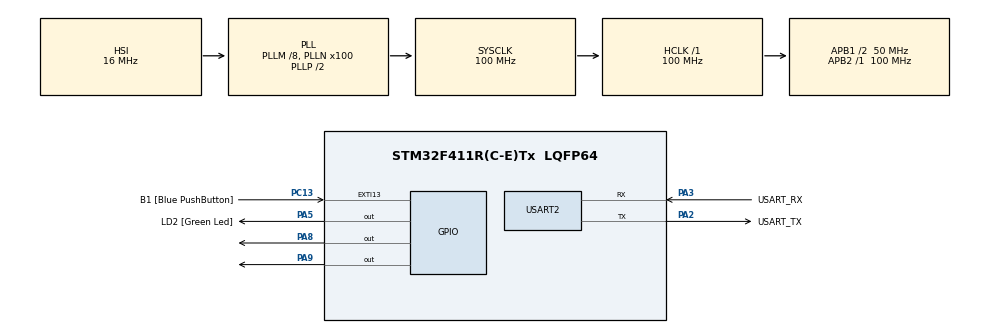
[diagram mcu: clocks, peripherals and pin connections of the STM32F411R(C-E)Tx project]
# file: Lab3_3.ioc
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Mcu.Family=STM32F4
Mcu.Name=STM32F411R(C-E)Tx
Mcu.Package=LQFP64
NVIC.PriorityGroup=NVIC_PRIORITYGROUP_0
NVIC.TIM2_IRQn=true\:0\:0\:false\:false\:true\:true\:true\:true
NVIC.TIM3_IRQn=true\:0\:0\:false\:false\:true\:true\:true\:true
NVIC.TIM4_IRQn=true\:0\:0\:false\:false\:true\:true\:true\:true
PA13.GPIO_Label=TMS
PA13.Mode=Serial_Wire
PA13.Signal=SYS_JTMS-SWDIO
PA14.GPIO_Label=TCK
PA14.Mode=Serial_Wire
PA14.Signal=SYS_JTCK-SWCLK
PA2.GPIO_Label=USART_TX
PA2.Mode=Asynchronous
PA2.Signal=USART2_TX
PA3.GPIO_Label=USART_RX
PA3.Mode=Asynchronous
PA3.Signal=USART2_RX
PA5.GPIO_Label=LD2 [Green Led]
PA5.Signal=GPIO_Output
PA8.Signal=GPIO_Output
PA9.Signal=GPIO_Output
PB3.GPIO_Label=SWO
PB3.Signal=SYS_JTDO-SWO
PC13-ANTI_TAMP.GPIO_Label=B1 [Blue PushButton]
PC13-ANTI_TAMP.GPIO_ModeDefaultEXTI=GPIO_MODE_IT_FALLING
PC13-ANTI_TAMP.Signal=GPXTI13
PC14-OSC32_IN.Mode=LSE-External-Oscillator
PC14-OSC32_IN.Signal=RCC_OSC32_IN
PC15-OSC32_OUT.Mode=LSE-External-Oscillator
PC15-OSC32_OUT.Signal=RCC_OSC32_OUT
PH0\ -\ OSC_IN.Mode=HSE-External-Clock-Source
PH0\ -\ OSC_IN.Signal=RCC_OSC_IN
PH1\ -\ OSC_OUT.Mode=HSE-External-Clock-Source
PH1\ -\ OSC_OUT.Signal=RCC_OSC_OUT
ProjectManager.HeapSize=0x200
ProjectManager.StackSize=0x400
ProjectManager.TargetToolchain=STM32CubeIDE
RCC.48MHZClocksFreq_Value=50000000
RCC.AHBFreq_Value=100000000
RCC.APB1CLKDivider=RCC_HCLK_DIV2
RCC.APB1Freq_Value=50000000
RCC.APB1TimFreq_Value=100000000
RCC.APB2Freq_Value=100000000
RCC.APB2TimFreq_Value=100000000
RCC.CortexFreq_Value=100000000
RCC.FLatency-AdvancedSettings=FLASH_LATENCY_3
RCC.HCLKFreq_Value=100000000
RCC.HSE_VALUE=8000000
RCC.HSI_VALUE=16000000
RCC.PLLM=8
RCC.PLLN=100
RCC.SYSCLKFreq_VALUE=100000000
RCC.SYSCLKSource=RCC_SYSCLKSOURCE_PLLCLK
RCC.VCOOutputFreq_Value=200000000
TIM2.Period=4999
TIM2.Prescaler=9999
TIM3.Period=4904
TIM3.Prescaler=9999
TIM4.Period=9998
TIM4.Prescaler=9999
USART2.VirtualMode=VM_ASYNC
VP_TIM2_VS_ClockSourceINT.Mode=Internal
VP_TIM3_VS_ClockSourceINT.Mode=Internal
VP_TIM4_VS_ClockSourceINT.Mode=Internal
board=NUCLEO-F411RE

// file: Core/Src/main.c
/* USER CODE BEGIN Header */
/**
  ******************************************************************************
  * @file           : main.c
  * @brief          : Main program body
  ******************************************************************************
  * @attention
  *
  * Copyright (c) 2026 STMicroelectronics.
  * All rights reserved.
  *
  * This software is licensed under terms that can be found in the LICENSE file
  * in the root directory of this software component.
  * If no LICENSE file comes with this software, it is provided AS-IS.
  *
  ******************************************************************************
  */
/* USER CODE END Header */
#include "main.h"

TIM_HandleTypeDef htim2;
TIM_HandleTypeDef htim3;
TIM_HandleTypeDef htim4;

UART_HandleTypeDef huart2;

/* USER CODE BEGIN PV */
volatile uint32_t led1_count = 0;
volatile uint32_t led2_count = 0;
volatile uint8_t report_flag = 0;
/* USER CODE END PV */

void SystemClock_Config(void);
static void MX_GPIO_Init(void);
static void MX_USART2_UART_Init(void);
static void MX_TIM2_Init(void);
static void MX_TIM3_Init(void);
static void MX_TIM4_Init(void);

int main(void)
{

  /* MCU Configuration--------------------------------------------------------*/

  /* Reset of all peripherals, Initializes the Flash interface and the Systick. */
  HAL_Init();

  /* Configure the system clock */
  SystemClock_Config();

  /* Initialize all configured peripherals */
  MX_GPIO_Init();
  MX_USART2_UART_Init();
  MX_TIM2_Init();
  MX_TIM3_Init();
  MX_TIM4_Init();
  /* USER CODE BEGIN 2 */
  HAL_TIM_Base_Start_IT(&htim2);
  HAL_TIM_Base_Start_IT(&htim3);
  HAL_TIM_Base_Start_IT(&htim4);
  /* USER CODE END 2 */

  /* Infinite loop */
  /* USER CODE BEGIN WHILE */
  while (1)
  {
    if (report_flag) {
      char tx_buffer[18];
      int len = sprintf(tx_buffer, "LED1=%lu, LED2=%lu\r\n", led1_count, led2_count);
      HAL_UART_Transmit(&huart2, (uint8_t*)tx_buffer, len, 100);

      report_flag = 0;
    }
    /* USER CODE END WHILE */

  }
}

void SystemClock_Config(void)
{
  RCC_OscInitTypeDef RCC_OscInitStruct = {0};
  RCC_ClkInitTypeDef RCC_ClkInitStruct = {0};

  /** Configure the main internal regulator output voltage
  */
  __HAL_RCC_PWR_CLK_ENABLE();
  __HAL_PWR_VOLTAGESCALING_CONFIG(PWR_REGULATOR_VOLTAGE_SCALE1);

  /** Initializes the RCC Oscillators according to the specified parameters
  * in the RCC_OscInitTypeDef structure.
  */
  RCC_OscInitStruct.OscillatorType = RCC_OSCILLATORTYPE_HSI;
  RCC_OscInitStruct.HSIState = RCC_HSI_ON;
  RCC_OscInitStruct.HSICalibrationValue = RCC_HSICALIBRATION_DEFAULT;
  RCC_OscInitStruct.PLL.PLLState = RCC_PLL_ON;
  RCC_OscInitStruct.PLL.PLLSource = RCC_PLLSOURCE_HSI;
  RCC_OscInitStruct.PLL.PLLM = 8;
  RCC_OscInitStruct.PLL.PLLN = 100;
  RCC_OscInitStruct.PLL.PLLP = RCC_PLLP_DIV2;
  RCC_OscInitStruct.PLL.PLLQ = 4;
  if (HAL_RCC_OscConfig(&RCC_OscInitStruct) != HAL_OK)
  {
    Error_Handler();
  }

  /** Initializes the CPU, AHB and APB buses clocks
  */
  RCC_ClkInitStruct.ClockType = RCC_CLOCKTYPE_HCLK|RCC_CLOCKTYPE_SYSCLK
                              |RCC_CLOCKTYPE_PCLK1|RCC_CLOCKTYPE_PCLK2;
  RCC_ClkInitStruct.SYSCLKSource = RCC_SYSCLKSOURCE_PLLCLK;
  RCC_ClkInitStruct.AHBCLKDivider = RCC_SYSCLK_DIV1;
  RCC_ClkInitStruct.APB1CLKDivider = RCC_HCLK_DIV2;
  RCC_ClkInitStruct.APB2CLKDivider = RCC_HCLK_DIV1;

  if (HAL_RCC_ClockConfig(&RCC_ClkInitStruct, FLASH_LATENCY_3) != HAL_OK)
  {
    Error_Handler();
  }
}

static void MX_TIM2_Init(void)
{

  TIM_ClockConfigTypeDef sClockSourceConfig = {0};
  TIM_MasterConfigTypeDef sMasterConfig = {0};

  htim2.Instance = TIM2;
  htim2.Init.Prescaler = 9999;
  htim2.Init.CounterMode = TIM_COUNTERMODE_UP;
  htim2.Init.Period = 4999;
  htim2.Init.ClockDivision = TIM_CLOCKDIVISION_DIV1;
  htim2.Init.AutoReloadPreload = TIM_AUTORELOAD_PRELOAD_DISABLE;
  if (HAL_TIM_Base_Init(&htim2) != HAL_OK)
  {
    Error_Handler();
  }
  sClockSourceConfig.ClockSource = TIM_CLOCKSOURCE_INTERNAL;
  if (HAL_TIM_ConfigClockSource(&htim2, &sClockSourceConfig) != HAL_OK)
  {
    Error_Handler();
  }
  sMasterConfig.MasterOutputTrigger = TIM_TRGO_RESET;
  sMasterConfig.MasterSlaveMode = TIM_MASTERSLAVEMODE_DISABLE;
  if (HAL_TIMEx_MasterConfigSynchronization(&htim2, &sMasterConfig) != HAL_OK)
  {
    Error_Handler();
  }

}

static void MX_TIM3_Init(void)
{

  TIM_ClockConfigTypeDef sClockSourceConfig = {0};
  TIM_MasterConfigTypeDef sMasterConfig = {0};

  htim3.Instance = TIM3;
  htim3.Init.Prescaler = 9999;
  htim3.Init.CounterMode = TIM_COUNTERMODE_UP;
  htim3.Init.Period = 4904;
  htim3.Init.ClockDivision = TIM_CLOCKDIVISION_DIV1;
  htim3.Init.AutoReloadPreload = TIM_AUTORELOAD_PRELOAD_DISABLE;
  if (HAL_TIM_Base_Init(&htim3) != HAL_OK)
  {
    Error_Handler();
  }
  sClockSourceConfig.ClockSource = TIM_CLOCKSOURCE_INTERNAL;
  if (HAL_TIM_ConfigClockSource(&htim3, &sClockSourceConfig) != HAL_OK)
  {
    Error_Handler();
  }
  sMasterConfig.MasterOutputTrigger = TIM_TRGO_RESET;
  sMasterConfig.MasterSlaveMode = TIM_MASTERSLAVEMODE_DISABLE;
  if (HAL_TIMEx_MasterConfigSynchronization(&htim3, &sMasterConfig) != HAL_OK)
  {
    Error_Handler();
  }

}

static void MX_TIM4_Init(void)
{

  TIM_ClockConfigTypeDef sClockSourceConfig = {0};
  TIM_MasterConfigTypeDef sMasterConfig = {0};

  htim4.Instance = TIM4;
  htim4.Init.Prescaler = 9999;
  htim4.Init.CounterMode = TIM_COUNTERMODE_UP;
  htim4.Init.Period = 9998;
  htim4.Init.ClockDivision = TIM_CLOCKDIVISION_DIV1;
  htim4.Init.AutoReloadPreload = TIM_AUTORELOAD_PRELOAD_DISABLE;
  if (HAL_TIM_Base_Init(&htim4) != HAL_OK)
  {
    Error_Handler();
  }
  sClockSourceConfig.ClockSource = TIM_CLOCKSOURCE_INTERNAL;
  if (HAL_TIM_ConfigClockSource(&htim4, &sClockSourceConfig) != HAL_OK)
  {
    Error_Handler();
  }
  sMasterConfig.MasterOutputTrigger = TIM_TRGO_RESET;
  sMasterConfig.MasterSlaveMode = TIM_MASTERSLAVEMODE_DISABLE;
  if (HAL_TIMEx_MasterConfigSynchronization(&htim4, &sMasterConfig) != HAL_OK)
  {
    Error_Handler();
  }

}

static void MX_USART2_UART_Init(void)
{

  huart2.Instance = USART2;
  huart2.Init.BaudRate = 115200;
  huart2.Init.WordLength = UART_WORDLENGTH_8B;
  huart2.Init.StopBits = UART_STOPBITS_1;
  huart2.Init.Parity = UART_PARITY_NONE;
  huart2.Init.Mode = UART_MODE_TX_RX;
  huart2.Init.HwFlowCtl = UART_HWCONTROL_NONE;
  huart2.Init.OverSampling = UART_OVERSAMPLING_16;
  if (HAL_UART_Init(&huart2) != HAL_OK)
  {
    Error_Handler();
  }

}

static void MX_GPIO_Init(void)
{
  GPIO_InitTypeDef GPIO_InitStruct = {0};

  /* GPIO Ports Clock Enable */
  __HAL_RCC_GPIOC_CLK_ENABLE();
  __HAL_RCC_GPIOH_CLK_ENABLE();
  __HAL_RCC_GPIOA_CLK_ENABLE();
  __HAL_RCC_GPIOB_CLK_ENABLE();

  /*Configure GPIO pin Output Level */
  HAL_GPIO_WritePin(GPIOA, LD2_Pin|GPIO_PIN_8|GPIO_PIN_9, GPIO_PIN_RESET);

  /*Configure GPIO pin : B1_Pin */
  GPIO_InitStruct.Pin = B1_Pin;
  GPIO_InitStruct.Mode = GPIO_MODE_IT_FALLING;
  GPIO_InitStruct.Pull = GPIO_NOPULL;
  HAL_GPIO_Init(B1_GPIO_Port, &GPIO_InitStruct);

  /*Configure GPIO pins : LD2_Pin PA8 PA9 */
  GPIO_InitStruct.Pin = LD2_Pin|GPIO_PIN_8|GPIO_PIN_9;
  GPIO_InitStruct.Mode = GPIO_MODE_OUTPUT_PP;
  GPIO_InitStruct.Pull = GPIO_NOPULL;
  GPIO_InitStruct.Speed = GPIO_SPEED_FREQ_LOW;
  HAL_GPIO_Init(GPIOA, &GPIO_InitStruct);

}

/* USER CODE BEGIN 4 */
void HAL_TIM_PeriodElapsedCallback(TIM_HandleTypeDef *htim) {
  if (htim->Instance == TIM2) {
    HAL_GPIO_TogglePin(GPIOA, GPIO_PIN_9);
    led1_count++;
  }
  else if (htim->Instance == TIM3) {
    HAL_GPIO_TogglePin(GPIOA, GPIO_PIN_8);
    led2_count++;
  }
  else if (htim->Instance == TIM4) {
    report_flag = 1;
  }
}
/* USER CODE END 4 */

void Error_Handler(void)
{
  __disable_irq();
  while (1)
  {
  }
}
